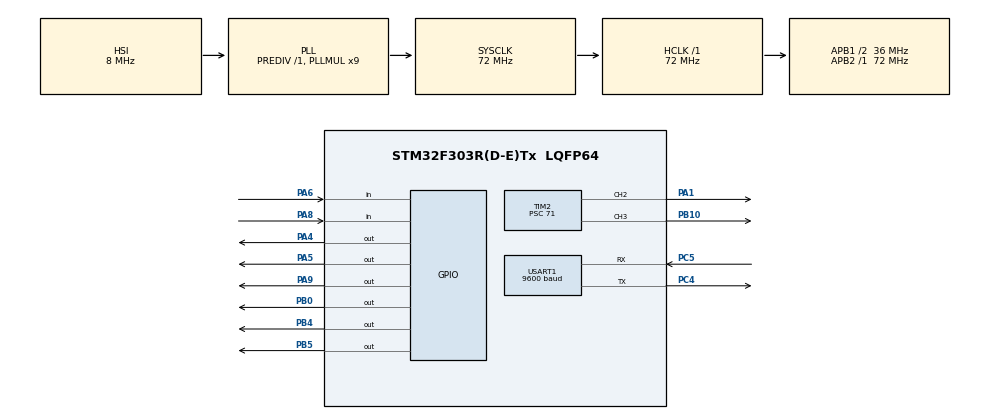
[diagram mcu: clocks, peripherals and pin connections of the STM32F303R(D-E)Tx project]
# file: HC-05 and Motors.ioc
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Mcu.Family=STM32F3
Mcu.Name=STM32F303R(D-E)Tx
Mcu.Package=LQFP64
NVIC.PriorityGroup=NVIC_PRIORITYGROUP_0
NVIC.USART1_IRQn=true\:0\:0\:false\:false\:true\:true\:true\:true
PA1.Signal=S_TIM2_CH2
PA13.Mode=Serial_Wire
PA13.Signal=SYS_JTMS-SWDIO
PA14.Mode=Serial_Wire
PA14.Signal=SYS_JTCK-SWCLK
PA4.Signal=GPIO_Output
PA5.Signal=GPIO_Output
PA6.Signal=GPIO_Input
PA8.Signal=GPIO_Input
PA9.Signal=GPIO_Output
PB0.Signal=GPIO_Output
PB10.Signal=S_TIM2_CH3
PB4.Signal=GPIO_Output
PB5.Signal=GPIO_Output
PC4.Mode=Asynchronous
PC4.Signal=USART1_TX
PC5.Mode=Asynchronous
PC5.Signal=USART1_RX
ProjectManager.HeapSize=0x200
ProjectManager.StackSize=0x400
ProjectManager.TargetToolchain=MDK-ARM V5.32
RCC.AHBFreq_Value=72000000
RCC.APB1CLKDivider=RCC_HCLK_DIV2
RCC.APB1Freq_Value=36000000
RCC.APB1TimFreq_Value=72000000
RCC.APB2Freq_Value=72000000
RCC.APB2TimFreq_Value=72000000
RCC.CortexFreq_Value=72000000
RCC.HCLKFreq_Value=72000000
RCC.HSE_VALUE=8000000
RCC.HSI_VALUE=8000000
RCC.LSE_VALUE=32768
RCC.PLLM=8
RCC.PLLMUL=RCC_PLL_MUL9
RCC.PLLN=336
RCC.PLLP=RCC_PLLP_DIV4
RCC.PLLQ=7
RCC.RCC_PLLsource_Clock_Source_FROM_HSE=RCC_HSE_PREDIV_DIV2
RCC.SYSCLKFreq_VALUE=72000000
RCC.SYSCLKSourceVirtual=RCC_SYSCLKSOURCE_PLLCLK
RCC.USBFreq_Value=72000000
SH.S_TIM2_CH2.0=TIM2_CH2,PWM Generation2 CH2
SH.S_TIM2_CH3.0=TIM2_CH3,PWM Generation3 CH3
TIM1.Period=1999
TIM1.Prescaler=71
TIM2.Channel-PWM\ Generation2\ CH2=TIM_CHANNEL_2
TIM2.Channel-PWM\ Generation3\ CH3=TIM_CHANNEL_3
TIM2.Period=1999
TIM2.Prescaler=71
TIM2.Pulse-PWM\ Generation3\ CH3=999
TIM3.Period=1999
TIM3.Prescaler=72
USART1.BaudRate=9600
USART1.VirtualMode-Asynchronous=VM_ASYNC
VP_TIM1_VS_ClockSourceINT.Mode=Internal
VP_TIM2_VS_ClockSourceINT.Mode=Internal
VP_TIM3_VS_ClockSourceINT.Mode=Internal
board=NUCLEO-F303RE

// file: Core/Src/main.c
/* USER CODE BEGIN Header */
/**
  ******************************************************************************
  * @file           : main.c
  * @brief          : Main program body
  ******************************************************************************
  * @attention
  *
  * Copyright (c) 2025 STMicroelectronics.
  * All rights reserved.
  *
  * This software is licensed under terms that can be found in the LICENSE file
  * in the root directory of this software component.
  * If no LICENSE file comes with this software, it is provided AS-IS.
  *
  ******************************************************************************
  */
/* USER CODE END Header */
#include "main.h"

/* USER CODE BEGIN PD */

#define TRIG_FRONT_PIN GPIO_PIN_9
#define TRIG_FRONT_PORT GPIOA
#define ECHO_FRONT_PIN GPIO_PIN_8
#define ECHO_FRONT_PORT GPIOA

#define TRIG_BACK_PIN GPIO_PIN_5
#define TRIG_BACK_PORT GPIOA
#define ECHO_BACK_PIN GPIO_PIN_6
#define ECHO_BACK_PORT GPIOA
#define OBSTACLE_LIMIT_CM 10

/* USER CODE END PD */

TIM_HandleTypeDef htim1;
TIM_HandleTypeDef htim2;
TIM_HandleTypeDef htim3;

UART_HandleTypeDef huart1;

/* USER CODE BEGIN PV */
uint8_t rxData;
char lastCommand = 0 ; // Ultima comanda primita

const uint32_t COMMAND_TIMEOUT = 500; // 500 ms timeout

uint32_t pMillis;
uint32_t Value1_Front = 0, Value2_Front = 0;
uint32_t Value1_Back = 0, Value2_Back = 0;
uint16_t Distance_Front = 0;
uint16_t Distance_Back = 0;

uint8_t obstacleDetected = 0;

/* USER CODE END PV */

void SystemClock_Config(void);
static void MX_GPIO_Init(void);
static void MX_USART1_UART_Init(void);
static void MX_TIM2_Init(void);
static void MX_TIM1_Init(void);
static void MX_TIM3_Init(void);

/* USER CODE BEGIN 0 */

void updateSensors() {
    // Trigger Front Sensor (TIM3)
    HAL_GPIO_WritePin(TRIG_FRONT_PORT, TRIG_FRONT_PIN, GPIO_PIN_SET);
    __HAL_TIM_SET_COUNTER(&htim3, 0);
    while (__HAL_TIM_GET_COUNTER(&htim3) < 10);
    HAL_GPIO_WritePin(TRIG_FRONT_PORT, TRIG_FRONT_PIN, GPIO_PIN_RESET);

    pMillis = HAL_GetTick();
    while (!(HAL_GPIO_ReadPin(ECHO_FRONT_PORT, ECHO_FRONT_PIN)) && pMillis + 10 > HAL_GetTick());
    Value1_Front = __HAL_TIM_GET_COUNTER(&htim3);

    pMillis = HAL_GetTick();
    while ((HAL_GPIO_ReadPin(ECHO_FRONT_PORT, ECHO_FRONT_PIN)) && pMillis + 50 > HAL_GetTick());
    Value2_Front = __HAL_TIM_GET_COUNTER(&htim3);

    Distance_Front = (Value2_Front - Value1_Front) * 0.034 / 2;

    // Trigger Back Sensor (TIM1)
    HAL_GPIO_WritePin(TRIG_BACK_PORT, TRIG_BACK_PIN, GPIO_PIN_SET);
    __HAL_TIM_SET_COUNTER(&htim1, 0);
    while (__HAL_TIM_GET_COUNTER(&htim1) < 10);
    HAL_GPIO_WritePin(TRIG_BACK_PORT, TRIG_BACK_PIN, GPIO_PIN_RESET);

    pMillis = HAL_GetTick();
    while (!(HAL_GPIO_ReadPin(ECHO_BACK_PORT, ECHO_BACK_PIN)) && pMillis + 10 > HAL_GetTick());
    Value1_Back = __HAL_TIM_GET_COUNTER(&htim1);

    pMillis = HAL_GetTick();
    while ((HAL_GPIO_ReadPin(ECHO_BACK_PORT, ECHO_BACK_PIN)) && pMillis + 50 > HAL_GetTick());
    Value2_Back = __HAL_TIM_GET_COUNTER(&htim1);

    Distance_Back = (Value2_Back - Value1_Back) * 0.034 / 2;

    if (Distance_Front < OBSTACLE_LIMIT_CM || Distance_Back < OBSTACLE_LIMIT_CM) {
        obstacleDetected = 1;
    } else {
        obstacleDetected = 0;
    }
}

// Motor A input (PB4 PB5) direction

 void setDirectionMotor_A_FWD(){ // 1 0
	HAL_GPIO_WritePin(GPIOB, GPIO_PIN_5, 1);
	HAL_GPIO_WritePin(GPIOB, GPIO_PIN_4, 0);
	}

void setDirectionMotor_A_BWD(){ // 0 1
	HAL_GPIO_WritePin(GPIOB, GPIO_PIN_5, 0);
	HAL_GPIO_WritePin(GPIOB, GPIO_PIN_4, 1);
	}

void setDirectionMotor_A_STOP(){
	HAL_GPIO_WritePin(GPIOB, GPIO_PIN_5, 0);
	HAL_GPIO_WritePin(GPIOB, GPIO_PIN_4, 0);
	}

	// Motor B input (PA4 PB0) direction
void setDirectionMotor_B_FWD(){ // 1 0
	HAL_GPIO_WritePin(GPIOA, GPIO_PIN_4, 1);
	HAL_GPIO_WritePin(GPIOB, GPIO_PIN_0, 0);
}

void setDirectionMotor_B_BWD(){ // 0 1
	HAL_GPIO_WritePin(GPIOA, GPIO_PIN_4, 0);
	HAL_GPIO_WritePin(GPIOB, GPIO_PIN_0, 1);
}
void setDirectionMotor_B_STOP(){
	HAL_GPIO_WritePin(GPIOA, GPIO_PIN_4, 0);
	HAL_GPIO_WritePin(GPIOB, GPIO_PIN_0, 0);
	}

void controlMotors()
{

		if (obstacleDetected) {
					setDirectionMotor_A_STOP();
					setDirectionMotor_B_STOP();
					__HAL_TIM_SET_COMPARE(&htim2, TIM_CHANNEL_3, 0);
					__HAL_TIM_SET_COMPARE(&htim2, TIM_CHANNEL_2, 0);
					return;
			}

    if (lastCommand == 'w') // FWD
    {
        setDirectionMotor_A_FWD();
        setDirectionMotor_B_FWD();
    }
    else if (lastCommand == 's') // BWD
    {
        setDirectionMotor_A_BWD();
        setDirectionMotor_B_BWD();
    }
    else if (lastCommand == 'a') // LEFT
    {
        setDirectionMotor_A_FWD();
        setDirectionMotor_B_BWD();
    }
    else if (lastCommand == 'd') // RIGHT
    {
        setDirectionMotor_A_BWD();
        setDirectionMotor_B_FWD();
    }
    else // Stop motors when no key is pressed
    {
        setDirectionMotor_A_STOP();
        setDirectionMotor_B_STOP();
    }

    // Aplica viteza
    __HAL_TIM_SET_COMPARE(&htim2, TIM_CHANNEL_3, (lastCommand ? 1000 : 0));
    __HAL_TIM_SET_COMPARE(&htim2, TIM_CHANNEL_2, (lastCommand ? 1000 : 0));
}

/* USER CODE END 0 */

int main(void)
{

  /* MCU Configuration--------------------------------------------------------*/

  /* Reset of all peripherals, Initializes the Flash interface and the Systick. */
  HAL_Init();

  /* Configure the system clock */
  SystemClock_Config();

  /* Initialize all configured peripherals */
  MX_GPIO_Init();
  MX_USART1_UART_Init();
  MX_TIM2_Init();
  MX_TIM1_Init();
  MX_TIM3_Init();
  /* USER CODE BEGIN 2 */

	HAL_UART_Receive_IT(&huart1,&rxData,1); // Enabling interrupt receive

	HAL_TIM_PWM_Start(&htim2, TIM_CHANNEL_3); //PB10 TIM2 CH3
	HAL_TIM_PWM_Start(&htim2, TIM_CHANNEL_2); //PA1 TIM2 CH2

	setDirectionMotor_A_STOP();
	setDirectionMotor_B_STOP();

	HAL_TIM_Base_Start(&htim1);
	HAL_TIM_Base_Start(&htim3);
	HAL_GPIO_WritePin(TRIG_FRONT_PORT, TRIG_FRONT_PIN, GPIO_PIN_RESET);
	HAL_GPIO_WritePin(TRIG_BACK_PORT, TRIG_BACK_PIN, GPIO_PIN_RESET);

	HAL_UART_Receive_IT(&huart1, &rxData, 1);

  /* USER CODE END 2 */

  /* Infinite loop */
  /* USER CODE BEGIN WHILE */
  while (1)
  {
		updateSensors();

		if (obstacleDetected) {
        lastCommand = 0;  // ignora comenzile daca e obstacol
    }
		controlMotors(); // Actualizeaza mi?carea ma?inu?ei
		HAL_Delay(100);
    /* USER CODE END WHILE */

  }
}

void SystemClock_Config(void)
{
  RCC_OscInitTypeDef RCC_OscInitStruct = {0};
  RCC_ClkInitTypeDef RCC_ClkInitStruct = {0};
  RCC_PeriphCLKInitTypeDef PeriphClkInit = {0};

  /** Initializes the RCC Oscillators according to the specified parameters
  * in the RCC_OscInitTypeDef structure.
  */
  RCC_OscInitStruct.OscillatorType = RCC_OSCILLATORTYPE_HSI;
  RCC_OscInitStruct.HSIState = RCC_HSI_ON;
  RCC_OscInitStruct.HSICalibrationValue = RCC_HSICALIBRATION_DEFAULT;
  RCC_OscInitStruct.PLL.PLLState = RCC_PLL_ON;
  RCC_OscInitStruct.PLL.PLLSource = RCC_PLLSOURCE_HSI;
  RCC_OscInitStruct.PLL.PLLMUL = RCC_PLL_MUL9;
  RCC_OscInitStruct.PLL.PREDIV = RCC_PREDIV_DIV1;
  if (HAL_RCC_OscConfig(&RCC_OscInitStruct) != HAL_OK)
  {
    Error_Handler();
  }

  /** Initializes the CPU, AHB and APB buses clocks
  */
  RCC_ClkInitStruct.ClockType = RCC_CLOCKTYPE_HCLK|RCC_CLOCKTYPE_SYSCLK
                              |RCC_CLOCKTYPE_PCLK1|RCC_CLOCKTYPE_PCLK2;
  RCC_ClkInitStruct.SYSCLKSource = RCC_SYSCLKSOURCE_PLLCLK;
  RCC_ClkInitStruct.AHBCLKDivider = RCC_SYSCLK_DIV1;
  RCC_ClkInitStruct.APB1CLKDivider = RCC_HCLK_DIV2;
  RCC_ClkInitStruct.APB2CLKDivider = RCC_HCLK_DIV1;

  if (HAL_RCC_ClockConfig(&RCC_ClkInitStruct, FLASH_LATENCY_2) != HAL_OK)
  {
    Error_Handler();
  }
  PeriphClkInit.PeriphClockSelection = RCC_PERIPHCLK_USART1|RCC_PERIPHCLK_TIM1
                              |RCC_PERIPHCLK_TIM2|RCC_PERIPHCLK_TIM34;
  PeriphClkInit.Usart1ClockSelection = RCC_USART1CLKSOURCE_PCLK2;
  PeriphClkInit.Tim1ClockSelection = RCC_TIM1CLK_HCLK;
  PeriphClkInit.Tim2ClockSelection = RCC_TIM2CLK_HCLK;
  PeriphClkInit.Tim34ClockSelection = RCC_TIM34CLK_HCLK;
  if (HAL_RCCEx_PeriphCLKConfig(&PeriphClkInit) != HAL_OK)
  {
    Error_Handler();
  }
}

static void MX_TIM1_Init(void)
{

  TIM_ClockConfigTypeDef sClockSourceConfig = {0};
  TIM_MasterConfigTypeDef sMasterConfig = {0};

  htim1.Instance = TIM1;
  htim1.Init.Prescaler = 71;
  htim1.Init.CounterMode = TIM_COUNTERMODE_UP;
  htim1.Init.Period = 1999;
  htim1.Init.ClockDivision = TIM_CLOCKDIVISION_DIV1;
  htim1.Init.RepetitionCounter = 0;
  htim1.Init.AutoReloadPreload = TIM_AUTORELOAD_PRELOAD_DISABLE;
  if (HAL_TIM_Base_Init(&htim1) != HAL_OK)
  {
    Error_Handler();
  }
  sClockSourceConfig.ClockSource = TIM_CLOCKSOURCE_INTERNAL;
  if (HAL_TIM_ConfigClockSource(&htim1, &sClockSourceConfig) != HAL_OK)
  {
    Error_Handler();
  }
  sMasterConfig.MasterOutputTrigger = TIM_TRGO_RESET;
  sMasterConfig.MasterOutputTrigger2 = TIM_TRGO2_RESET;
  sMasterConfig.MasterSlaveMode = TIM_MASTERSLAVEMODE_DISABLE;
  if (HAL_TIMEx_MasterConfigSynchronization(&htim1, &sMasterConfig) != HAL_OK)
  {
    Error_Handler();
  }

}

static void MX_TIM2_Init(void)
{

  TIM_ClockConfigTypeDef sClockSourceConfig = {0};
  TIM_MasterConfigTypeDef sMasterConfig = {0};
  TIM_OC_InitTypeDef sConfigOC = {0};

  htim2.Instance = TIM2;
  htim2.Init.Prescaler = 71;
  htim2.Init.CounterMode = TIM_COUNTERMODE_UP;
  htim2.Init.Period = 1999;
  htim2.Init.ClockDivision = TIM_CLOCKDIVISION_DIV1;
  htim2.Init.AutoReloadPreload = TIM_AUTORELOAD_PRELOAD_DISABLE;
  if (HAL_TIM_Base_Init(&htim2) != HAL_OK)
  {
    Error_Handler();
  }
  sClockSourceConfig.ClockSource = TIM_CLOCKSOURCE_INTERNAL;
  if (HAL_TIM_ConfigClockSource(&htim2, &sClockSourceConfig) != HAL_OK)
  {
    Error_Handler();
  }
  if (HAL_TIM_PWM_Init(&htim2) != HAL_OK)
  {
    Error_Handler();
  }
  sMasterConfig.MasterOutputTrigger = TIM_TRGO_RESET;
  sMasterConfig.MasterSlaveMode = TIM_MASTERSLAVEMODE_DISABLE;
  if (HAL_TIMEx_MasterConfigSynchronization(&htim2, &sMasterConfig) != HAL_OK)
  {
    Error_Handler();
  }
  sConfigOC.OCMode = TIM_OCMODE_PWM1;
  sConfigOC.Pulse = 0;
  sConfigOC.OCPolarity = TIM_OCPOLARITY_HIGH;
  sConfigOC.OCFastMode = TIM_OCFAST_DISABLE;
  if (HAL_TIM_PWM_ConfigChannel(&htim2, &sConfigOC, TIM_CHANNEL_2) != HAL_OK)
  {
    Error_Handler();
  }
  sConfigOC.Pulse = 999;
  if (HAL_TIM_PWM_ConfigChannel(&htim2, &sConfigOC, TIM_CHANNEL_3) != HAL_OK)
  {
    Error_Handler();
  }
  HAL_TIM_MspPostInit(&htim2);

}

static void MX_TIM3_Init(void)
{

  TIM_ClockConfigTypeDef sClockSourceConfig = {0};
  TIM_MasterConfigTypeDef sMasterConfig = {0};

  htim3.Instance = TIM3;
  htim3.Init.Prescaler = 72;
  htim3.Init.CounterMode = TIM_COUNTERMODE_UP;
  htim3.Init.Period = 1999;
  htim3.Init.ClockDivision = TIM_CLOCKDIVISION_DIV1;
  htim3.Init.AutoReloadPreload = TIM_AUTORELOAD_PRELOAD_DISABLE;
  if (HAL_TIM_Base_Init(&htim3) != HAL_OK)
  {
    Error_Handler();
  }
  sClockSourceConfig.ClockSource = TIM_CLOCKSOURCE_INTERNAL;
  if (HAL_TIM_ConfigClockSource(&htim3, &sClockSourceConfig) != HAL_OK)
  {
    Error_Handler();
  }
  sMasterConfig.MasterOutputTrigger = TIM_TRGO_RESET;
  sMasterConfig.MasterSlaveMode = TIM_MASTERSLAVEMODE_DISABLE;
  if (HAL_TIMEx_MasterConfigSynchronization(&htim3, &sMasterConfig) != HAL_OK)
  {
    Error_Handler();
  }

}

static void MX_USART1_UART_Init(void)
{

  huart1.Instance = USART1;
  huart1.Init.BaudRate = 9600;
  huart1.Init.WordLength = UART_WORDLENGTH_8B;
  huart1.Init.StopBits = UART_STOPBITS_1;
  huart1.Init.Parity = UART_PARITY_NONE;
  huart1.Init.Mode = UART_MODE_TX_RX;
  huart1.Init.HwFlowCtl = UART_HWCONTROL_NONE;
  huart1.Init.OverSampling = UART_OVERSAMPLING_16;
  huart1.Init.OneBitSampling = UART_ONE_BIT_SAMPLE_DISABLE;
  huart1.AdvancedInit.AdvFeatureInit = UART_ADVFEATURE_NO_INIT;
  if (HAL_UART_Init(&huart1) != HAL_OK)
  {
    Error_Handler();
  }

}

static void MX_GPIO_Init(void)
{
  GPIO_InitTypeDef GPIO_InitStruct = {0};

  /* GPIO Ports Clock Enable */
  __HAL_RCC_GPIOA_CLK_ENABLE();
  __HAL_RCC_GPIOC_CLK_ENABLE();
  __HAL_RCC_GPIOB_CLK_ENABLE();

  /*Configure GPIO pin Output Level */
  HAL_GPIO_WritePin(GPIOA, GPIO_PIN_4|GPIO_PIN_5|GPIO_PIN_9, GPIO_PIN_RESET);

  /*Configure GPIO pin Output Level */
  HAL_GPIO_WritePin(GPIOB, GPIO_PIN_0|GPIO_PIN_4|GPIO_PIN_5, GPIO_PIN_RESET);

  /*Configure GPIO pins : PA4 PA5 PA9 */
  GPIO_InitStruct.Pin = GPIO_PIN_4|GPIO_PIN_5|GPIO_PIN_9;
  GPIO_InitStruct.Mode = GPIO_MODE_OUTPUT_PP;
  GPIO_InitStruct.Pull = GPIO_NOPULL;
  GPIO_InitStruct.Speed = GPIO_SPEED_FREQ_LOW;
  HAL_GPIO_Init(GPIOA, &GPIO_InitStruct);

  /*Configure GPIO pins : PA6 PA8 */
  GPIO_InitStruct.Pin = GPIO_PIN_6|GPIO_PIN_8;
  GPIO_InitStruct.Mode = GPIO_MODE_INPUT;
  GPIO_InitStruct.Pull = GPIO_NOPULL;
  HAL_GPIO_Init(GPIOA, &GPIO_InitStruct);

  /*Configure GPIO pins : PB0 PB4 PB5 */
  GPIO_InitStruct.Pin = GPIO_PIN_0|GPIO_PIN_4|GPIO_PIN_5;
  GPIO_InitStruct.Mode = GPIO_MODE_OUTPUT_PP;
  GPIO_InitStruct.Pull = GPIO_NOPULL;
  GPIO_InitStruct.Speed = GPIO_SPEED_FREQ_LOW;
  HAL_GPIO_Init(GPIOB, &GPIO_InitStruct);

}

/* USER CODE BEGIN 4 */

/*
void HAL_UART_RxCpltCallback(UART_HandleTypeDef *huart)
{
  if(huart->Instance==USART1)
  {
    if(rxData=='w') // FWD
    {
			setDirectionMotor_A_FWD();
			setDirectionMotor_B_FWD();

			__HAL_TIM_SET_COMPARE(&htim2, TIM_CHANNEL_3, 1000);
			__HAL_TIM_SET_COMPARE(&htim2, TIM_CHANNEL_2, 1000);

    }
    else if (rxData== 's') // BWD
    {

			setDirectionMotor_A_BWD();
			setDirectionMotor_B_BWD();

			__HAL_TIM_SET_COMPARE(&htim2, TIM_CHANNEL_3, 1000);
			__HAL_TIM_SET_COMPARE(&htim2, TIM_CHANNEL_2, 1000);
    }
		else if (rxData== 'a') // LEFT
    {
    	setDirectionMotor_A_FWD();
				setDirectionMotor_B_BWD();

			__HAL_TIM_SET_COMPARE(&htim2, TIM_CHANNEL_3, 1000);
			__HAL_TIM_SET_COMPARE(&htim2, TIM_CHANNEL_2, 1000);

    }
		else if (rxData== 'd') // RIGHT
    {
    	setDirectionMotor_A_BWD();
			setDirectionMotor_B_FWD();

			__HAL_TIM_SET_COMPARE(&htim2, TIM_CHANNEL_3, 1000);
			__HAL_TIM_SET_COMPARE(&htim2, TIM_CHANNEL_2, 1000);
    }
    HAL_UART_Receive_IT(&huart1,&rxData,1); // Enabling interrupt receive again
  }
}
*/

void HAL_UART_RxCpltCallback(UART_HandleTypeDef *huart)
{
    if (huart->Instance == USART1)
    {
        HAL_UART_Transmit(&huart1, &rxData, 1, 100); // feedback

        if (rxData == 'w' || rxData == 's' || rxData == 'a' || rxData == 'd')
        {
            lastCommand = rxData; // Save movement command
        }
        else if (rxData == ' ')
        {
            lastCommand = 0; // Stop command
        }

        HAL_UART_Receive_IT(&huart1, &rxData, 1); // Re-enable UART reception
    }
}

/* USER CODE END 4 */

void Error_Handler(void)
{
  __disable_irq();
  while (1)
  {
  }
}
